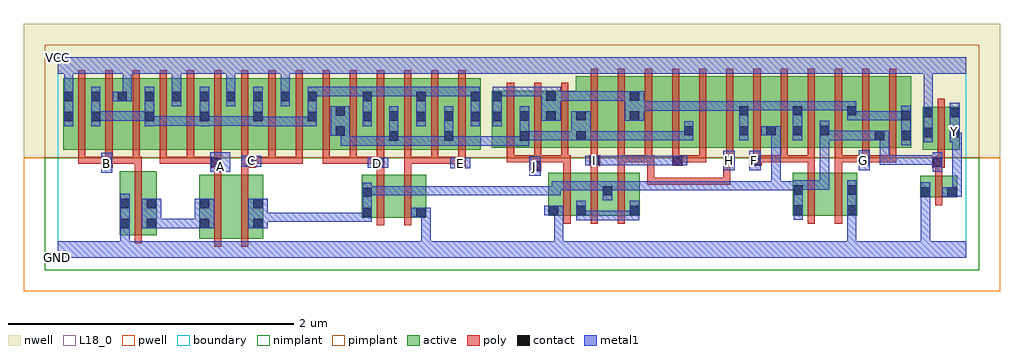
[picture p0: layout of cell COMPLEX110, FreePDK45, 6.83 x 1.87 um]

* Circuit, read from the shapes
.subckt COMPLEX110 A B C D E F G GND H I J VCC Y
M1 n1 B GND VSUBS nfet w=0.45u l=0.05u
M2 n2 A n1 VSUBS nfet w=0.45u l=0.05u
M3 n3 C n2 VSUBS nfet w=0.45u l=0.05u
M4 n4 D n3 VSUBS nfet w=0.3u l=0.05u
M5 GND E n4 VSUBS nfet w=0.3u l=0.05u
M6 n5 J GND VSUBS nfet w=0.3u l=0.05u
M7 n3 I n5 VSUBS nfet w=0.3u l=0.05u
M8 n5 H n3 VSUBS nfet w=0.3u l=0.05u
M9 n6 F n3 VSUBS nfet w=0.3u l=0.05u
M10 GND G n6 VSUBS nfet w=0.3u l=0.05u
M11 Y n3 GND VSUBS nfet w=0.15u l=0.05u
M12 n7 B VCC n8 pfet w=0.5u l=0.05u m=3
M13 VCC A n7 n8 pfet w=0.5u l=0.05u m=3
M14 n7 C VCC n8 pfet w=0.5u l=0.05u m=3
M15 n9 D n7 n8 pfet w=0.5u l=0.05u m=3
M16 n7 E n9 n8 pfet w=0.5u l=0.05u m=3
M17 n9 J n10 n8 pfet w=0.4u l=0.05u m=3
M18 n11 I n9 n8 pfet w=0.5u l=0.05u
M19 n10 H n11 n8 pfet w=0.5u l=0.05u
M20 n12 H n10 n8 pfet w=0.5u l=0.05u
M21 n9 I n12 n8 pfet w=0.5u l=0.05u
M22 n13 I n9 n8 pfet w=0.5u l=0.05u
M23 n10 H n13 n8 pfet w=0.5u l=0.05u
M24 n3 F n10 n8 pfet w=0.5u l=0.05u m=3
M25 n10 G n3 n8 pfet w=0.5u l=0.05u m=3
M26 Y n3 VCC n8 pfet w=0.3u l=0.05u
.ends

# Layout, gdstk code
import gdstk
lib = gdstk.Library(unit=1e-6, precision=1e-09)
def R(c, l, rs):  # rectangles x0, y0, x1, y1
    for r in rs: c.add(gdstk.rectangle(r[:2], r[2:], *l))
def A(c, l, x, y, w, h, nx, ny, dx, dy):  # array of equal rectangles
    R(c, l, [(x+i*dx, y+j*dy, x+i*dx+w, y+j*dy+h) for i in range(nx) for j in range(ny)])
active = (1, 0)
pwell = (2, 0)
nwell = (3, 0)
nimplant = (4, 0)
pimplant = (5, 0)
poly = (9, 0)
contact = (10, 0)
metal1 = (11, 0)
L18_0 = (18, 0)
boundary = (235, 0)

complex110 = lib.new_cell('COMPLEX110')
A(complex110, active, 1.175, 0.755, 0.265, 0.5, 3, 1, 0.19, 0)
A(complex110, active, 5.14, 0.767, 0.075, 0.433, 3, 1, 0.38, 0)
R(complex110, active, [(0.99,0.13,1.215,0.58), (1.215,0.13,1.44,0.58), (0.435,0.155,0.695,0.605), (0.435,0.195,0.51,0.605), (0.62,0.195,0.695,0.605), (0.99,0.195,1.095,0.58), (1.365,0.195,1.44,0.58), (2.13,0.28,2.205,0.58), (2.13,0.28,2.355,0.58), (2.355,0.28,2.58,0.58), (2.505,0.28,2.58,0.58), (3.435,0.292,3.51,0.592), (3.435,0.292,3.7,0.592), (3.625,0.292,3.885,0.592), (3.625,0.292,3.7,0.497), (3.81,0.292,4.075,0.592), (4,0.292,4.075,0.592), (5.145,0.292,5.22,0.592), (5.145,0.292,5.37,0.592), (5.37,0.292,5.595,0.592), (5.52,0.292,5.595,0.592), (3.81,0.33,3.885,0.505), (6.037,0.422,6.112,0.572), (6.037,0.422,6.297,0.572), (6.222,0.422,6.297,0.572), (0.04,0.755,0.305,1.255), (0.04,0.755,0.115,1.255), (0.23,0.755,0.49,1.255), (0.23,0.755,0.305,1.2), (0.415,0.755,0.68,1.255), (0.415,0.755,0.49,1.255), (0.605,0.755,0.87,1.255), (0.605,0.755,0.68,1.2), (0.795,0.755,1.065,1.255), (0.795,0.755,0.87,1.255), (0.99,0.755,1.25,1.255), (0.99,0.755,1.065,1.2), (1.365,0.755,1.44,1.2), (1.555,0.755,1.63,1.255), (1.745,0.755,2.015,1.255), (1.745,0.755,1.82,1.2), (1.94,0.755,2.205,1.255), (1.94,0.755,2.015,1.07), (2.13,0.755,2.39,1.255), (2.13,0.755,2.205,1.2), (2.315,0.755,2.58,1.255), (2.315,0.755,2.39,1.07), (2.505,0.755,2.775,1.255), (2.505,0.755,2.58,1.2), (2.7,0.755,2.96,1.255), (2.7,0.755,2.775,1.07), (2.885,0.755,2.96,1.2), (6.055,0.755,6.13,1.055), (6.055,0.755,6.315,1.055), (6.24,0.755,6.315,1.055), (3.04,0.767,3.305,1.167), (3.04,0.767,3.115,1.165), (3.23,0.767,3.305,1.07), (3.23,0.767,3.49,1.167), (3.415,0.767,3.7,1.167), (3.415,0.767,3.49,1.167), (3.625,0.767,3.7,1.07), (3.625,0.767,3.85,1.267), (3.85,0.767,4.075,1.267), (4,0.767,4.075,1.2), (4,0.767,4.23,1.267), (4.23,0.767,4.455,1.267), (4.38,0.767,4.455,1.07), (4.38,0.767,4.61,1.267), (4.61,0.767,4.84,1.267), (4.765,0.767,4.84,1.2), (4.765,0.767,5.03,1.267), (4.955,0.767,5.215,1.267), (4.955,0.767,5.03,1.07), (5.14,0.767,5.405,1.267), (5.33,0.767,5.405,1.07), (5.33,0.767,5.595,1.267), (5.52,0.767,5.79,1.267), (5.715,0.767,5.975,1.267), (5.715,0.767,5.79,1.07), (1.175,0.807,1.25,1.255)])
R(complex110, pwell, [(-0.235,-0.235,6.595,0.7)])
R(complex110, nwell, [(-0.235,0.7,6.595,1.635)])
R(complex110, nimplant, [(-0.09,-0.09,6.45,0.7)])
R(complex110, pimplant, [(-0.09,0.7,6.45,1.49)])
A(complex110, poly, 3.54, 0.237, 0.05, 0.41, 3, 1, 0.19, 0)
A(complex110, poly, 0.145, 0.655, 0.05, 0.095, 15, 1, 0.19, 0)
A(complex110, poly, 1.665, 0.655, 0.05, 0.05, 3, 1, 0.19, 0)
A(complex110, poly, 3.145, 0.667, 0.05, 0.095, 3, 1, 0.19, 0)
A(complex110, poly, 3.73, 0.667, 0.05, 0.095, 12, 1, 0.19, 0)
A(complex110, poly, 0.145, 0.7, 0.05, 0.61, 15, 1, 0.19, 0)
A(complex110, poly, 3.145, 0.712, 0.05, 0.51, 3, 1, 0.19, 0)
A(complex110, poly, 3.73, 0.712, 0.05, 0.61, 12, 1, 0.19, 0)
R(complex110, poly, [(1.095,0.075,1.145,0.635), (1.285,0.075,1.335,0.635), (0.54,0.1,0.59,0.66), (2.235,0.225,2.285,0.635), (2.425,0.225,2.475,0.635), (5.25,0.237,5.3,0.647), (5.44,0.237,5.49,0.647), (6.142,0.367,6.192,0.627), (4.125,0.51,4.175,0.56), (4.125,0.51,4.175,0.56), (4.125,0.51,4.175,0.56), (4.125,0.51,4.407,0.56), (4.125,0.51,4.175,0.717), (4.357,0.51,4.407,0.56), (4.357,0.51,4.407,0.56), (4.357,0.51,4.407,0.56), (4.357,0.51,4.575,0.56), (4.525,0.51,4.575,0.56), (4.525,0.51,4.707,0.56), (4.657,0.51,4.707,0.56), (4.657,0.51,4.707,0.56), (4.657,0.51,4.707,0.56), (4.657,0.51,4.707,0.56), (4.657,0.51,4.707,0.56), (4.657,0.51,4.707,0.692), (6.142,0.577,6.192,0.68), (1.095,0.585,1.145,0.68), (1.285,0.585,1.335,0.68), (2.235,0.585,2.285,0.68), (2.425,0.585,2.475,0.705), (3.54,0.597,3.59,0.717), (3.73,0.597,3.78,0.692), (3.92,0.597,3.97,0.717), (5.25,0.597,5.3,0.717), (5.44,0.597,5.49,0.717), (3.31,0.605,3.385,0.717), (0.54,0.61,0.59,0.705), (0.31,0.627,0.385,0.705), (1.07,0.63,1.145,0.705), (1.285,0.63,1.392,0.705), (2.21,0.63,2.285,0.705), (2.78,0.63,2.855,0.705), (6.12,0.63,6.21,0.705), (3.722,0.642,3.797,0.717), (4.3,0.642,4.375,0.717), (4.657,0.642,4.732,0.717), (4.852,0.642,4.927,0.717), (5.605,0.642,5.68,0.717), (0.145,0.655,0.195,0.705), (0.145,0.655,0.195,0.705), (0.145,0.655,0.195,0.705), (0.145,0.655,0.36,0.705), (0.335,0.655,0.385,0.705), (0.335,0.655,0.385,0.705), (0.335,0.655,0.575,0.705), (0.525,0.655,0.59,0.705), (0.715,0.655,0.765,0.705), (0.715,0.655,0.765,0.705), (0.715,0.655,0.765,0.705), (0.715,0.655,0.955,0.705), (0.905,0.655,0.955,0.705), (0.905,0.655,0.955,0.705), (0.905,0.655,0.955,0.705), (0.905,0.655,1.12,0.705), (1.342,0.655,1.392,0.705), (1.342,0.655,1.392,0.705), (1.342,0.655,1.525,0.705), (1.475,0.655,1.525,0.705), (1.475,0.655,1.715,0.705), (1.665,0.655,1.715,0.705), (1.665,0.655,1.715,0.705), (1.855,0.655,2.095,0.705), (2.045,0.655,2.095,0.705), (2.045,0.655,2.095,0.705), (2.045,0.655,2.26,0.705), (2.21,0.655,2.26,0.705), (2.21,0.655,2.26,0.705), (2.425,0.655,2.475,0.705), (2.425,0.655,2.475,0.705), (2.425,0.655,2.475,0.705), (2.425,0.655,2.665,0.705), (2.615,0.655,2.665,0.705), (2.615,0.655,2.665,0.705), (2.615,0.655,2.665,0.705), (2.615,0.655,2.83,0.705), (6.16,0.655,6.21,0.75), (3.145,0.667,3.195,0.717), (3.145,0.667,3.195,0.717), (3.145,0.667,3.195,0.717), (3.145,0.667,3.36,0.717), (3.335,0.667,3.385,0.717), (3.335,0.667,3.385,0.717), (3.335,0.667,3.575,0.717), (3.525,0.667,3.59,0.717), (3.92,0.667,3.975,0.717), (3.925,0.667,3.975,0.717), (3.925,0.667,3.975,0.717), (3.925,0.667,4.16,0.717), (4.11,0.667,4.175,0.717), (4.125,0.667,4.175,0.717), (4.125,0.667,4.175,0.717), (4.325,0.667,4.375,0.717), (4.325,0.667,4.375,0.717), (4.325,0.667,4.54,0.717), (4.49,0.667,4.54,0.717), (4.877,0.667,4.927,0.717), (4.877,0.667,4.927,0.717), (4.877,0.667,5.11,0.717), (5.06,0.667,5.11,0.717), (5.06,0.667,5.3,0.717), (5.25,0.667,5.3,0.717), (5.25,0.667,5.3,0.717), (5.25,0.667,5.3,0.717), (5.44,0.667,5.49,0.717), (5.44,0.667,5.655,0.717), (5.605,0.667,5.655,0.717), (5.605,0.667,5.655,0.717), (5.63,0.667,5.87,0.717), (5.82,0.667,5.87,0.717), (5.82,0.667,5.87,0.717), (5.82,0.667,5.87,0.717), (6.16,0.7,6.21,1.11)])
A(complex110, contact, 0.42, 1.095, 0.065, 0.065, 3, 1, 0.19, 0)
A(complex110, contact, 1.18, 1.095, 0.065, 0.065, 4, 1, 0.19, 0)
R(complex110, contact, [(0.44,0.205,0.505,0.27), (0.625,0.205,0.69,0.27), (0.995,0.205,1.06,0.27), (1.37,0.205,1.435,0.27), (2.135,0.285,2.2,0.35), (2.51,0.285,2.575,0.35), (3.44,0.297,3.505,0.362), (3.63,0.297,3.695,0.362), (4.005,0.297,4.07,0.362), (5.15,0.3,5.215,0.365), (5.525,0.3,5.59,0.365), (0.44,0.345,0.505,0.41), (0.625,0.345,0.69,0.41), (0.995,0.345,1.06,0.41), (1.37,0.345,1.435,0.41), (2.135,0.425,2.2,0.49), (6.042,0.427,6.107,0.492), (6.227,0.427,6.292,0.492), (3.815,0.435,3.88,0.5), (5.15,0.44,5.215,0.505), (5.525,0.44,5.59,0.505), (3.315,0.61,3.38,0.675), (0.315,0.632,0.38,0.697), (1.075,0.635,1.14,0.7), (1.322,0.635,1.387,0.7), (2.215,0.635,2.28,0.7), (2.785,0.635,2.85,0.7), (6.125,0.635,6.19,0.7), (3.727,0.647,3.792,0.712), (4.305,0.647,4.37,0.712), (4.662,0.647,4.727,0.712), (4.857,0.647,4.922,0.712), (5.61,0.647,5.675,0.712), (2.32,0.817,2.385,0.882), (2.705,0.817,2.77,0.882), (3.235,0.817,3.3,0.882), (3.63,0.82,3.695,0.885), (5.72,0.822,5.785,0.887), (5.905,0.822,5.97,0.887), (6.06,0.842,6.125,0.907), (6.245,0.842,6.31,0.907), (1.945,0.852,2.01,0.917), (4.385,0.855,4.45,0.92), (4.77,0.855,4.835,0.92), (4.96,0.855,5.025,0.92), (5.145,0.855,5.21,0.92), (5.335,0.857,5.4,0.922), (0.045,0.955,0.11,1.02), (0.235,0.955,0.3,1.02), (0.61,0.955,0.675,1.02), (0.995,0.955,1.06,1.02), (1.37,0.955,1.435,1.02), (1.75,0.955,1.815,1.02), (2.135,0.955,2.2,1.02), (2.51,0.955,2.575,1.02), (2.89,0.955,2.955,1.02), (3.045,0.955,3.11,1.02), (2.32,0.957,2.385,1.022), (2.705,0.957,2.77,1.022), (3.235,0.957,3.3,1.022), (3.42,0.957,3.485,1.022), (4.005,0.957,4.07,1.022), (3.63,0.96,3.695,1.025), (5.905,0.962,5.97,1.027), (6.06,0.982,6.125,1.047), (6.245,0.982,6.31,1.047), (1.945,0.992,2.01,1.057), (4.77,0.995,4.835,1.06), (5.145,0.995,5.21,1.06), (5.525,0.995,5.59,1.06), (0.045,1.095,0.11,1.16), (0.235,1.095,0.3,1.16), (0.995,1.095,1.06,1.16), (2.135,1.095,2.2,1.16), (2.51,1.095,2.575,1.16), (2.89,1.095,2.955,1.16), (3.045,1.095,3.11,1.16), (3.42,1.097,3.485,1.162), (4.005,1.097,4.07,1.162)])
A(complex110, metal1, 0.8, 1.06, 0.065, 0.135, 3, 1, 0.38, 0)
A(complex110, metal1, 0.8, 1.13, 0.065, 0.22, 3, 1, 0.38, 0)
R(complex110, metal1, [(0,0,6.36,0.115), (0.44,0.05,0.505,0.115), (0.44,0.05,0.505,0.115), (0.44,0.05,0.505,0.235), (2.545,0.05,2.61,0.35), (3.475,0.05,3.54,0.115), (3.475,0.05,3.54,0.115), (3.475,0.05,3.54,0.362), (5.525,0.05,5.59,0.33), (6.042,0.05,6.107,0.115), (6.042,0.05,6.107,0.115), (6.042,0.05,6.107,0.115), (6.042,0.05,6.107,0.115), (6.042,0.05,6.107,0.457), (0.44,0.17,0.505,0.445), (0.59,0.205,0.725,0.41), (0.66,0.205,0.725,0.27), (0.66,0.205,0.725,0.27), (0.66,0.205,0.887,0.27), (0.822,0.205,0.887,0.27), (0.822,0.205,0.887,0.27), (0.822,0.205,0.887,0.27), (0.822,0.205,1.025,0.27), (0.96,0.205,1.095,0.41), (1.335,0.205,1.47,0.41), (1.405,0.25,1.47,0.315), (1.405,0.25,1.47,0.315), (1.405,0.25,1.607,0.315), (1.542,0.25,1.607,0.315), (1.542,0.25,1.607,0.315), (1.542,0.25,1.607,0.315), (1.542,0.25,1.815,0.315), (1.75,0.25,1.815,0.315), (1.75,0.25,1.815,0.315), (1.75,0.25,1.815,0.315), (1.75,0.25,1.952,0.315), (1.887,0.25,1.952,0.315), (1.887,0.25,1.952,0.315), (1.887,0.25,1.952,0.315), (1.887,0.25,2.2,0.315), (2.135,0.25,2.2,0.525), (3.63,0.262,3.695,0.327), (3.63,0.262,3.695,0.327), (3.63,0.262,3.695,0.397), (3.63,0.262,3.867,0.327), (3.802,0.262,3.867,0.327), (3.802,0.262,4.035,0.327), (3.97,0.262,4.035,0.327), (3.97,0.262,4.07,0.327), (4.005,0.262,4.07,0.397), (5.15,0.265,5.215,0.54), (5.525,0.265,5.59,0.33), (5.525,0.265,5.59,0.33), (5.525,0.265,5.59,0.33), (5.525,0.265,5.59,0.33), (5.525,0.265,5.59,0.54), (2.475,0.285,2.61,0.35), (2.545,0.285,2.61,0.35), (2.545,0.285,2.61,0.35), (2.545,0.285,2.61,0.35), (2.545,0.285,2.61,0.35), (3.405,0.297,3.54,0.362), (3.475,0.297,3.54,0.362), (3.475,0.297,3.54,0.362), (6.042,0.392,6.107,0.457), (6.042,0.392,6.107,0.457), (6.042,0.392,6.107,0.527), (3.815,0.4,3.88,0.535), (6.192,0.427,6.327,0.492), (6.262,0.427,6.327,0.492), (6.262,0.427,6.327,0.492), (6.262,0.427,6.327,0.872), (2.135,0.435,2.2,0.5), (2.135,0.435,2.2,0.5), (2.135,0.435,2.337,0.5), (2.272,0.435,2.337,0.5), (2.272,0.435,2.337,0.5), (2.272,0.435,2.337,0.5), (2.272,0.435,2.54,0.5), (2.475,0.435,2.54,0.5), (2.475,0.435,2.54,0.5), (2.475,0.435,2.54,0.5), (2.475,0.435,2.817,0.5), (2.752,0.435,2.817,0.5), (2.752,0.435,2.972,0.5), (2.907,0.435,2.972,0.5), (2.907,0.435,2.972,0.5), (2.907,0.435,2.972,0.5), (2.907,0.435,3.11,0.5), (3.045,0.435,3.11,0.5), (3.045,0.435,3.11,0.5), (3.045,0.435,3.11,0.5), (3.045,0.435,3.247,0.5), (3.182,0.435,3.247,0.5), (3.182,0.435,3.247,0.5), (3.182,0.435,3.247,0.5), (3.182,0.435,3.522,0.5), (3.457,0.435,3.522,0.5), (3.457,0.435,3.522,0.5), (3.457,0.435,3.522,0.535), (3.457,0.47,3.677,0.535), (3.612,0.47,3.677,0.535), (3.612,0.47,3.677,0.535), (3.612,0.47,3.677,0.535), (3.612,0.47,3.88,0.535), (3.815,0.47,4.035,0.535), (3.97,0.47,4.035,0.535), (3.97,0.47,4.035,0.535), (3.97,0.47,4.035,0.535), (3.97,0.47,4.172,0.535), (4.107,0.47,4.172,0.535), (4.107,0.47,4.312,0.535), (4.247,0.47,4.312,0.535), (4.247,0.47,4.312,0.535), (4.247,0.47,4.312,0.535), (4.247,0.47,4.495,0.535), (4.43,0.47,4.495,0.535), (4.43,0.47,4.587,0.535), (4.522,0.47,4.587,0.535), (4.522,0.47,4.632,0.535), (4.567,0.47,4.632,0.535), (4.567,0.47,4.77,0.535), (4.705,0.47,4.77,0.535), (4.705,0.47,4.77,0.535), (4.705,0.47,4.77,0.535), (4.705,0.47,4.907,0.535), (4.842,0.47,4.907,0.535), (4.842,0.47,5.06,0.535), (4.995,0.47,5.06,0.535), (4.995,0.47,5.06,0.535), (4.995,0.47,5.06,0.535), (4.995,0.47,5.06,0.535), (4.995,0.47,5.06,0.535), (4.995,0.47,5.215,0.535), (4.995,0.47,5.06,0.92), (5.15,0.475,5.215,0.54), (5.15,0.475,5.215,0.54), (5.15,0.475,5.4,0.54), (5.335,0.475,5.4,0.54), (5.335,0.475,5.4,0.54), (5.335,0.475,5.4,0.54), (5.335,0.475,5.4,0.887), (3.302,0.572,3.38,0.71), (0.307,0.592,0.382,0.732), (1.07,0.6,1.207,0.735), (6.125,0.6,6.19,0.735), (4.66,0.612,4.74,0.747), (4.842,0.612,4.922,0.747), (5.605,0.612,5.682,0.75), (2.747,0.625,2.887,0.7), (2.172,0.627,2.315,0.7), (1.287,0.635,1.427,0.712), (3.692,0.647,3.827,0.712), (3.762,0.647,3.897,0.712), (3.832,0.647,3.897,0.712), (3.832,0.647,4.035,0.712), (3.97,0.647,4.035,0.712), (3.97,0.647,4.172,0.712), (4.107,0.647,4.172,0.712), (4.107,0.647,4.172,0.712), (4.107,0.647,4.172,0.712), (4.107,0.647,4.312,0.712), (4.247,0.647,4.312,0.712), (4.247,0.647,4.335,0.712), (4.27,0.647,4.405,0.712), (5.755,0.65,5.82,0.715), (5.755,0.65,5.82,0.715), (5.755,0.65,5.82,0.715), (5.755,0.65,5.97,0.715), (5.755,0.65,5.82,0.887), (5.905,0.65,5.97,0.715), (5.905,0.65,5.97,0.715), (5.905,0.65,5.97,0.715), (5.905,0.65,6.19,0.715), (1.98,0.782,2.045,0.917), (1.98,0.782,2.182,0.847), (2.117,0.782,2.182,0.847), (2.117,0.782,2.182,0.847), (2.117,0.782,2.182,0.847), (2.117,0.782,2.385,0.847), (2.32,0.782,2.385,0.847), (2.32,0.782,2.385,0.847), (2.32,0.782,2.385,1.057), (2.32,0.782,2.632,0.847), (2.567,0.782,2.632,0.847), (2.567,0.782,2.632,0.847), (2.567,0.782,2.632,0.847), (2.567,0.782,2.77,0.847), (2.705,0.782,2.77,1.057), (2.705,0.782,2.972,0.847), (2.907,0.782,2.972,0.847), (2.907,0.782,2.972,0.847), (2.907,0.782,2.972,0.847), (2.907,0.782,3.11,0.847), (3.045,0.782,3.11,0.847), (3.045,0.782,3.11,0.847), (3.045,0.782,3.11,0.847), (3.045,0.782,3.3,0.847), (3.235,0.782,3.3,1.057), (5.905,0.787,5.97,1.062), (6.06,0.807,6.125,1.082), (6.245,0.807,6.312,1.082), (6.247,0.807,6.312,0.872), (6.247,0.807,6.327,0.872), (3.235,0.82,3.3,0.885), (3.235,0.82,3.3,0.885), (3.235,0.82,3.522,0.885), (3.457,0.82,3.522,0.885), (3.457,0.82,3.522,0.885), (3.457,0.82,3.522,0.885), (3.457,0.82,3.66,0.885), (3.595,0.82,3.73,1.025), (3.665,0.82,3.897,0.885), (3.832,0.82,3.897,0.885), (3.832,0.82,3.897,0.885), (3.832,0.82,3.897,0.885), (3.832,0.82,4.035,0.885), (3.97,0.82,4.035,0.885), (3.97,0.82,4.035,0.885), (3.97,0.82,4.035,0.885), (3.97,0.82,4.172,0.885), (4.107,0.82,4.172,0.885), (4.107,0.82,4.312,0.885), (4.247,0.82,4.312,0.885), (4.247,0.82,4.45,0.885), (4.385,0.82,4.45,0.885), (4.385,0.82,4.45,0.885), (4.385,0.82,4.45,0.955), (4.77,0.82,4.835,1.095), (5.145,0.82,5.21,1.095), (5.335,0.822,5.4,0.887), (5.335,0.822,5.4,0.887), (5.335,0.822,5.4,0.957), (5.335,0.822,5.612,0.887), (5.547,0.822,5.612,0.887), (5.547,0.822,5.612,0.887), (5.547,0.822,5.612,0.887), (5.547,0.822,5.75,0.887), (5.685,0.822,5.82,0.887), (1.91,0.852,2.045,1.057), (1.98,0.852,2.045,0.917), (4.925,0.855,5.06,0.92), (0.045,0.92,0.11,1.195), (0.235,0.92,0.3,1.195), (0.61,0.92,0.675,1.195), (0.995,0.92,1.06,1.195), (1.37,0.92,1.435,0.985), (1.37,0.92,1.435,0.985), (1.37,0.92,1.435,1.195), (1.37,0.92,1.677,0.985), (1.612,0.92,1.677,0.985), (1.612,0.92,1.677,0.985), (1.612,0.92,1.677,0.985), (1.612,0.92,1.815,0.985), (1.75,0.92,1.815,1.195), (2.135,0.92,2.2,1.195), (2.51,0.92,2.575,1.195), (2.89,0.92,2.955,1.195), (3.045,0.92,3.11,1.195), (0.61,0.922,0.675,0.987), (0.61,0.922,0.675,0.987), (0.61,0.922,0.862,0.987), (0.797,0.922,0.862,0.987), (0.797,0.922,0.862,0.987), (0.797,0.922,0.862,0.987), (0.797,0.922,1.06,0.987), (0.995,0.922,1.06,0.987), (0.995,0.922,1.06,0.987), (0.995,0.922,1.262,0.987), (1.197,0.922,1.262,0.987), (1.197,0.922,1.262,0.987), (1.197,0.922,1.262,0.987), (1.197,0.922,1.435,0.987), (0.235,0.957,0.3,1.022), (0.235,0.957,0.3,1.022), (0.235,0.957,0.517,1.022), (0.452,0.957,0.517,1.022), (0.452,0.957,0.537,1.022), (0.472,0.957,0.537,1.022), (0.472,0.957,0.675,1.022), (3.385,0.957,3.52,1.195), (3.97,0.957,4.105,1.162), (5.525,0.96,5.59,1.025), (5.525,0.96,5.59,1.025), (5.525,0.96,5.59,1.095), (5.525,0.96,5.832,1.025), (5.767,0.96,5.832,1.025), (5.767,0.96,5.832,1.025), (5.767,0.96,5.832,1.025), (5.767,0.96,5.97,1.025), (6.06,1.017,6.125,1.082), (6.06,1.017,6.125,1.082), (6.06,1.017,6.125,1.35), (4.04,1.027,4.172,1.092), (4.107,1.027,4.172,1.092), (4.107,1.027,4.31,1.092), (4.245,1.027,4.31,1.092), (4.245,1.027,4.31,1.092), (4.245,1.027,4.31,1.092), (4.245,1.027,4.495,1.092), (4.43,1.027,4.495,1.092), (4.43,1.027,4.587,1.092), (4.522,1.027,4.587,1.092), (4.522,1.027,4.632,1.092), (4.567,1.027,4.632,1.092), (4.567,1.027,4.725,1.092), (4.66,1.027,4.725,1.092), (4.66,1.027,4.835,1.092), (4.77,1.03,4.922,1.095), (4.857,1.03,4.922,1.095), (4.857,1.03,5.06,1.095), (4.995,1.03,5.06,1.095), (4.995,1.03,5.06,1.095), (4.995,1.03,5.06,1.095), (4.995,1.03,5.21,1.095), (5.145,1.03,5.21,1.095), (5.145,1.03,5.21,1.095), (5.145,1.03,5.352,1.095), (5.287,1.03,5.352,1.095), (5.287,1.03,5.352,1.095), (5.287,1.03,5.352,1.095), (5.287,1.03,5.59,1.095), (0.385,1.095,0.52,1.16), (0.455,1.095,0.52,1.35), (3.455,1.097,3.52,1.162), (3.455,1.097,3.52,1.162), (3.455,1.097,3.685,1.162), (3.62,1.097,3.685,1.162), (3.62,1.097,3.685,1.162), (3.62,1.097,3.685,1.162), (3.62,1.097,3.867,1.162), (3.802,1.097,3.867,1.162), (3.802,1.097,4.035,1.162), (3.97,1.097,4.035,1.162), (3.97,1.097,4.035,1.162), (0.045,1.13,0.11,1.35), (1.75,1.13,1.815,1.195), (1.75,1.13,1.815,1.195), (1.75,1.13,1.952,1.195), (1.887,1.13,1.952,1.195), (1.887,1.13,1.952,1.195), (1.887,1.13,1.952,1.195), (1.887,1.13,2.2,1.195), (2.135,1.13,2.2,1.195), (2.135,1.13,2.2,1.195), (2.135,1.13,2.402,1.195), (2.337,1.13,2.402,1.195), (2.337,1.13,2.402,1.195), (2.337,1.13,2.402,1.195), (2.337,1.13,2.575,1.195), (2.51,1.13,2.575,1.195), (2.51,1.13,2.575,1.195), (2.51,1.13,2.817,1.195), (2.752,1.13,2.817,1.195), (2.752,1.13,2.955,1.195), (2.89,1.13,2.955,1.195), (2.89,1.13,2.955,1.195), (3.045,1.13,3.11,1.195), (3.045,1.13,3.11,1.195), (3.045,1.13,3.312,1.195), (3.247,1.13,3.312,1.195), (3.247,1.13,3.312,1.195), (3.247,1.13,3.312,1.195), (3.247,1.13,3.45,1.195), (0,1.285,6.36,1.4)])
A(complex110, L18_0, 0.8, 1.06, 0.065, 0.135, 3, 1, 0.38, 0)
A(complex110, L18_0, 0.8, 1.13, 0.065, 0.22, 3, 1, 0.38, 0)
R(complex110, L18_0, [(0,0,6.36,0.115), (0.44,0.05,0.505,0.115), (0.44,0.05,0.505,0.115), (0.44,0.05,0.505,0.235), (2.545,0.05,2.61,0.35), (3.475,0.05,3.54,0.115), (3.475,0.05,3.54,0.115), (3.475,0.05,3.54,0.362), (5.525,0.05,5.59,0.33), (6.042,0.05,6.107,0.115), (6.042,0.05,6.107,0.115), (6.042,0.05,6.107,0.115), (6.042,0.05,6.107,0.115), (6.042,0.05,6.107,0.457), (0.44,0.17,0.505,0.445), (5.525,0.265,5.59,0.54), (5.525,0.265,5.59,0.33), (5.525,0.265,5.59,0.33), (5.525,0.265,5.59,0.33), (5.525,0.265,5.59,0.33), (2.475,0.285,2.61,0.35), (2.545,0.285,2.61,0.35), (2.545,0.285,2.61,0.35), (2.545,0.285,2.61,0.35), (2.545,0.285,2.61,0.35), (3.405,0.297,3.54,0.362), (3.475,0.297,3.54,0.362), (3.475,0.297,3.54,0.362), (6.042,0.392,6.107,0.457), (6.042,0.392,6.107,0.457), (6.042,0.392,6.107,0.527), (6.192,0.427,6.327,0.492), (6.262,0.427,6.327,0.492), (6.262,0.427,6.327,0.492), (6.262,0.427,6.327,0.872), (3.302,0.572,3.38,0.71), (0.307,0.592,0.382,0.732), (1.07,0.6,1.207,0.735), (1.107,0.607,1.172,0.672), (3.307,0.607,3.372,0.672), (4.66,0.612,4.74,0.747), (4.842,0.612,4.922,0.747), (5.605,0.612,5.682,0.75), (2.747,0.625,2.887,0.7), (0.307,0.627,0.372,0.692), (2.172,0.627,2.315,0.7), (2.207,0.627,2.272,0.692), (2.787,0.627,2.852,0.692), (1.287,0.635,1.427,0.712), (1.327,0.647,1.392,0.712), (3.692,0.647,3.827,0.712), (3.727,0.647,3.792,0.712), (3.762,0.647,3.897,0.712), (3.832,0.647,3.897,0.712), (3.832,0.647,4.035,0.712), (3.97,0.647,4.035,0.712), (3.97,0.647,4.172,0.712), (4.107,0.647,4.172,0.712), (4.107,0.647,4.172,0.712), (4.107,0.647,4.172,0.712), (4.107,0.647,4.312,0.712), (4.247,0.647,4.312,0.712), (4.247,0.647,4.335,0.712), (4.27,0.647,4.405,0.712), (4.667,0.647,4.732,0.712), (4.847,0.647,4.912,0.712), (5.607,0.647,5.672,0.712), (6.06,0.807,6.125,1.082), (6.245,0.807,6.312,1.082), (6.247,0.807,6.312,0.872), (6.247,0.807,6.327,0.872), (6.247,0.847,6.312,0.912), (0.045,0.92,0.11,1.195), (6.06,1.017,6.125,1.082), (6.06,1.017,6.125,1.082), (6.06,1.017,6.125,1.35), (0.385,1.095,0.52,1.16), (0.455,1.095,0.52,1.35), (0.045,1.13,0.11,1.35), (0,1.285,6.36,1.4)])
R(complex110, boundary, [(0,0,6.36,1.4)])
complex110.add(gdstk.Label('A', (1.14,0.64), layer=11, texttype=0))
complex110.add(gdstk.Label('B', (0.34,0.66), layer=11, texttype=0))
complex110.add(gdstk.Label('C', (1.36,0.68), layer=11, texttype=0))
complex110.add(gdstk.Label('D', (2.24,0.66), layer=11, texttype=0))
complex110.add(gdstk.Label('E', (2.82,0.66), layer=11, texttype=0))
complex110.add(gdstk.Label('F', (4.88,0.68), layer=11, texttype=0))
complex110.add(gdstk.Label('G', (5.64,0.68), layer=11, texttype=0))
complex110.add(gdstk.Label('H', (4.7,0.68), layer=11, texttype=0))
complex110.add(gdstk.Label('I', (3.76,0.68), layer=11, texttype=0))
complex110.add(gdstk.Label('J', (3.34,0.64), layer=11, texttype=0))
complex110.add(gdstk.Label('Y', (6.28,0.88), layer=11, texttype=0))
complex110.add(gdstk.Label('VCC', (0,1.4), layer=11, texttype=0))
complex110.add(gdstk.Label('GND', (0,0), layer=11, texttype=0))

lib.write_gds('COMPLEX110.gds')
